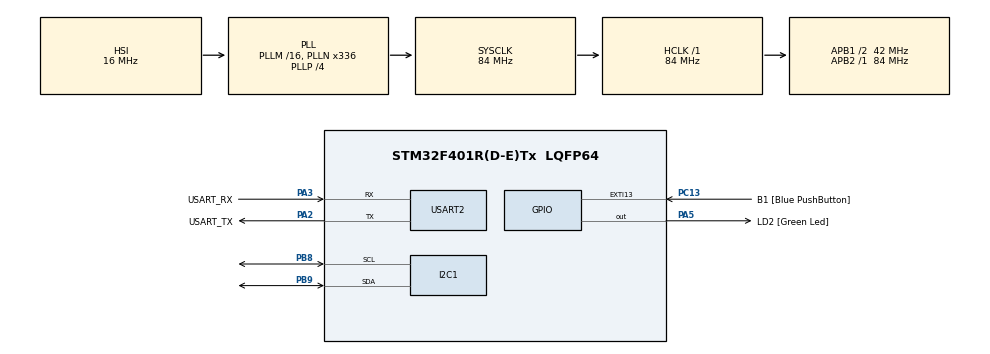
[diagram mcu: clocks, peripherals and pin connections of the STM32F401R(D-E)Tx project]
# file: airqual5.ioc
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Mcu.Family=STM32F4
Mcu.Name=STM32F401R(D-E)Tx
Mcu.Package=LQFP64
NVIC.PriorityGroup=NVIC_PRIORITYGROUP_0
PA13.GPIO_Label=TMS
PA13.Mode=Serial_Wire
PA13.Signal=SYS_JTMS-SWDIO
PA14.GPIO_Label=TCK
PA14.Mode=Serial_Wire
PA14.Signal=SYS_JTCK-SWCLK
PA2.GPIO_Label=USART_TX
PA2.GPIO_Mode=GPIO_MODE_AF_PP
PA2.GPIO_PuPd=GPIO_NOPULL
PA2.GPIO_Speed=GPIO_SPEED_FREQ_LOW
PA2.Mode=Asynchronous
PA2.Signal=USART2_TX
PA3.GPIO_Label=USART_RX
PA3.GPIO_Mode=GPIO_MODE_AF_PP
PA3.GPIO_PuPd=GPIO_NOPULL
PA3.GPIO_Speed=GPIO_SPEED_FREQ_LOW
PA3.Mode=Asynchronous
PA3.Signal=USART2_RX
PA5.GPIO_Label=LD2 [Green Led]
PA5.GPIO_Mode=GPIO_MODE_OUTPUT_PP
PA5.GPIO_PuPd=GPIO_NOPULL
PA5.GPIO_Speed=GPIO_SPEED_FREQ_LOW
PA5.Signal=GPIO_Output
PB3.GPIO_Label=SWO
PB3.Signal=SYS_JTDO-SWO
PB8.Mode=I2C
PB8.Signal=I2C1_SCL
PB9.Mode=I2C
PB9.Signal=I2C1_SDA
PC13-ANTI_TAMP.GPIO_Label=B1 [Blue PushButton]
PC13-ANTI_TAMP.GPIO_ModeDefaultEXTI=GPIO_MODE_IT_FALLING
PC13-ANTI_TAMP.GPIO_PuPd=GPIO_NOPULL
PC13-ANTI_TAMP.Signal=GPXTI13
PC14-OSC32_IN.Mode=LSE-External-Oscillator
PC14-OSC32_IN.Signal=RCC_OSC32_IN
PC15-OSC32_OUT.Mode=LSE-External-Oscillator
PC15-OSC32_OUT.Signal=RCC_OSC32_OUT
PH0\ -\ OSC_IN.Mode=HSE-External-Clock-Source
PH0\ -\ OSC_IN.Signal=RCC_OSC_IN
PH1\ -\ OSC_OUT.Mode=HSE-External-Clock-Source
PH1\ -\ OSC_OUT.Signal=RCC_OSC_OUT
ProjectManager.HeapSize=0x200
ProjectManager.StackSize=0x400
ProjectManager.TargetToolchain=STM32CubeIDE
RCC.48MHZClocksFreq_Value=48000000
RCC.AHBFreq_Value=84000000
RCC.APB1CLKDivider=RCC_HCLK_DIV2
RCC.APB1Freq_Value=42000000
RCC.APB1TimFreq_Value=84000000
RCC.APB2Freq_Value=84000000
RCC.APB2TimFreq_Value=84000000
RCC.CortexFreq_Value=84000000
RCC.HCLKFreq_Value=84000000
RCC.HSE_VALUE=8000000
RCC.HSI_VALUE=16000000
RCC.PLLN=336
RCC.PLLP=RCC_PLLP_DIV4
RCC.PLLQ=7
RCC.SYSCLKFreq_VALUE=84000000
RCC.SYSCLKSource=RCC_SYSCLKSOURCE_PLLCLK
RCC.VCOOutputFreq_Value=336000000
USART2.VirtualMode=VM_ASYNC
board=NUCLEO-F401RE

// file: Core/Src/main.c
/* USER CODE BEGIN Header */
/**
  ******************************************************************************
  * @file           : main.c
  * @brief          : Main program body
  ******************************************************************************
  * @attention
  *
  * Copyright (c) 2022 STMicroelectronics.
  * All rights reserved.
  *
  * This software is licensed under terms that can be found in the LICENSE file
  * in the root directory of this software component.
  * If no LICENSE file comes with this software, it is provided AS-IS.
  *
  ******************************************************************************
  */
/* USER CODE END Header */
#include "main.h"

/* USER CODE BEGIN Includes */
#include "liquidcrystal_i2c.h"
#include <stdio.h>  // printf

#include "scd4x_i2c.h"
#include "sensirion_common.h"
#include "sensirion_i2c_hal.h"
/* USER CODE END Includes */

I2C_HandleTypeDef hi2c1;

UART_HandleTypeDef huart2;

void SystemClock_Config(void);
static void MX_GPIO_Init(void);
static void MX_USART2_UART_Init(void);
static void MX_I2C1_Init(void);

int main(void)
{

  /* MCU Configuration--------------------------------------------------------*/

  /* Reset of all peripherals, Initializes the Flash interface and the Systick. */
  HAL_Init();

  /* Configure the system clock */
  SystemClock_Config();

  /* Initialize all configured peripherals */
  MX_GPIO_Init();
  MX_USART2_UART_Init();
  MX_I2C1_Init();
  /* USER CODE BEGIN 2 */
  /*SCD40 begin*/
  int16_t error = 0;
  if(HAL_I2C_IsDeviceReady(&hi2c1, 0x62 << 1, 2, 10) == HAL_OK)
  {
	  HAL_GPIO_TogglePin(GPIOA, GPIO_PIN_5);
  }
//  sensirion_i2c_hal_init();

  // Clean up potential SCD40 states
  scd4x_wake_up();
  scd4x_stop_periodic_measurement();
  scd4x_reinit();

  scd4x_start_periodic_measurement();

  /*SCD40 End*/

  /*LCD begin*/
  HD44780_Init(2);
  HD44780_Clear();
  HD44780_SetCursor(0,0);
  HD44780_PrintStr("Loading...(1m)");

  HAL_Delay(2000);

  int x;
//  for(int x=0; x<40; x=x+1)
 // {
//    HD44780_ScrollDisplayLeft();  //HD44780_ScrollDisplayRight();
//    HAL_Delay(500);
//  }

  char snum[5];
  for ( int x = 1; x <= 60 ; x++ )
  {
    itoa(x, snum, 10);
//  HD44780_Clear();
    HD44780_SetCursor(0,1);
    HD44780_PrintStr(snum);
    HAL_Delay (1000);
  }
  /*LCD End*/
  uint16_t co2;
  int32_t temperature;
  int32_t humidity;
  char co2a[5];
  /* USER CODE END 2 */

  /* Infinite loop */
  while (1)
  {
//	  sensirion_i2c_hal_sleep_usec(100000);
//	  bool data_ready_flag = false;
//	  scd4x_get_data_ready_flag(&data_ready_flag);
//	  error = scd4x_get_data_ready_flag(&data_ready_flag);
//	          if (error) {
	              //printf("Error executing scd4x_get_data_ready_flag(): %i\n", error);
//	              continue;
//	          }
//	          if (!data_ready_flag) {
//	              continue;
//	          }

	  scd4x_read_measurement(&co2, &temperature, &humidity);

	  itoa(co2, co2a, 10);
	  HD44780_Clear();
	  HD44780_SetCursor(0,0);
	  HD44780_PrintStr("CO2(ppm) Temp(C)");
	  HD44780_SetCursor(0,1);
	  HD44780_PrintStr(co2a);
	  HAL_Delay(5000);
//    printf("CO2: %u\n", co2);
//    printf("Temperature: %d m°C\n", temperature);
//    printf("Humidity: %d mRH\n", humidity);

    /* USER CODE BEGIN 3 */
  }
  return 0;
  /* USER CODE END 3 */
}

void SystemClock_Config(void)
{
  RCC_OscInitTypeDef RCC_OscInitStruct = {0};
  RCC_ClkInitTypeDef RCC_ClkInitStruct = {0};

  /** Configure the main internal regulator output voltage
  */
  __HAL_RCC_PWR_CLK_ENABLE();
  __HAL_PWR_VOLTAGESCALING_CONFIG(PWR_REGULATOR_VOLTAGE_SCALE2);

  /** Initializes the RCC Oscillators according to the specified parameters
  * in the RCC_OscInitTypeDef structure.
  */
  RCC_OscInitStruct.OscillatorType = RCC_OSCILLATORTYPE_HSI;
  RCC_OscInitStruct.HSIState = RCC_HSI_ON;
  RCC_OscInitStruct.HSICalibrationValue = RCC_HSICALIBRATION_DEFAULT;
  RCC_OscInitStruct.PLL.PLLState = RCC_PLL_ON;
  RCC_OscInitStruct.PLL.PLLSource = RCC_PLLSOURCE_HSI;
  RCC_OscInitStruct.PLL.PLLM = 16;
  RCC_OscInitStruct.PLL.PLLN = 336;
  RCC_OscInitStruct.PLL.PLLP = RCC_PLLP_DIV4;
  RCC_OscInitStruct.PLL.PLLQ = 7;
  if (HAL_RCC_OscConfig(&RCC_OscInitStruct) != HAL_OK)
  {
    Error_Handler();
  }

  /** Initializes the CPU, AHB and APB buses clocks
  */
  RCC_ClkInitStruct.ClockType = RCC_CLOCKTYPE_HCLK|RCC_CLOCKTYPE_SYSCLK
                              |RCC_CLOCKTYPE_PCLK1|RCC_CLOCKTYPE_PCLK2;
  RCC_ClkInitStruct.SYSCLKSource = RCC_SYSCLKSOURCE_PLLCLK;
  RCC_ClkInitStruct.AHBCLKDivider = RCC_SYSCLK_DIV1;
  RCC_ClkInitStruct.APB1CLKDivider = RCC_HCLK_DIV2;
  RCC_ClkInitStruct.APB2CLKDivider = RCC_HCLK_DIV1;

  if (HAL_RCC_ClockConfig(&RCC_ClkInitStruct, FLASH_LATENCY_2) != HAL_OK)
  {
    Error_Handler();
  }
}

static void MX_I2C1_Init(void)
{

  hi2c1.Instance = I2C1;
  hi2c1.Init.ClockSpeed = 100000;
  hi2c1.Init.DutyCycle = I2C_DUTYCYCLE_2;
  hi2c1.Init.OwnAddress1 = 0;
  hi2c1.Init.AddressingMode = I2C_ADDRESSINGMODE_7BIT;
  hi2c1.Init.DualAddressMode = I2C_DUALADDRESS_DISABLE;
  hi2c1.Init.OwnAddress2 = 0;
  hi2c1.Init.GeneralCallMode = I2C_GENERALCALL_DISABLE;
  hi2c1.Init.NoStretchMode = I2C_NOSTRETCH_DISABLE;
  if (HAL_I2C_Init(&hi2c1) != HAL_OK)
  {
    Error_Handler();
  }

}

static void MX_USART2_UART_Init(void)
{

  huart2.Instance = USART2;
  huart2.Init.BaudRate = 115200;
  huart2.Init.WordLength = UART_WORDLENGTH_8B;
  huart2.Init.StopBits = UART_STOPBITS_1;
  huart2.Init.Parity = UART_PARITY_NONE;
  huart2.Init.Mode = UART_MODE_TX_RX;
  huart2.Init.HwFlowCtl = UART_HWCONTROL_NONE;
  huart2.Init.OverSampling = UART_OVERSAMPLING_16;
  if (HAL_UART_Init(&huart2) != HAL_OK)
  {
    Error_Handler();
  }

}

static void MX_GPIO_Init(void)
{
  GPIO_InitTypeDef GPIO_InitStruct = {0};

  /* GPIO Ports Clock Enable */
  __HAL_RCC_GPIOC_CLK_ENABLE();
  __HAL_RCC_GPIOH_CLK_ENABLE();
  __HAL_RCC_GPIOA_CLK_ENABLE();
  __HAL_RCC_GPIOB_CLK_ENABLE();

  /*Configure GPIO pin Output Level */
  HAL_GPIO_WritePin(LD2_GPIO_Port, LD2_Pin, GPIO_PIN_RESET);

  /*Configure GPIO pin : B1_Pin */
  GPIO_InitStruct.Pin = B1_Pin;
  GPIO_InitStruct.Mode = GPIO_MODE_IT_FALLING;
  GPIO_InitStruct.Pull = GPIO_NOPULL;
  HAL_GPIO_Init(B1_GPIO_Port, &GPIO_InitStruct);

  /*Configure GPIO pin : LD2_Pin */
  GPIO_InitStruct.Pin = LD2_Pin;
  GPIO_InitStruct.Mode = GPIO_MODE_OUTPUT_PP;
  GPIO_InitStruct.Pull = GPIO_NOPULL;
  GPIO_InitStruct.Speed = GPIO_SPEED_FREQ_LOW;
  HAL_GPIO_Init(LD2_GPIO_Port, &GPIO_InitStruct);

}

void Error_Handler(void)
{
  __disable_irq();
  while (1)
  {
  }
}
